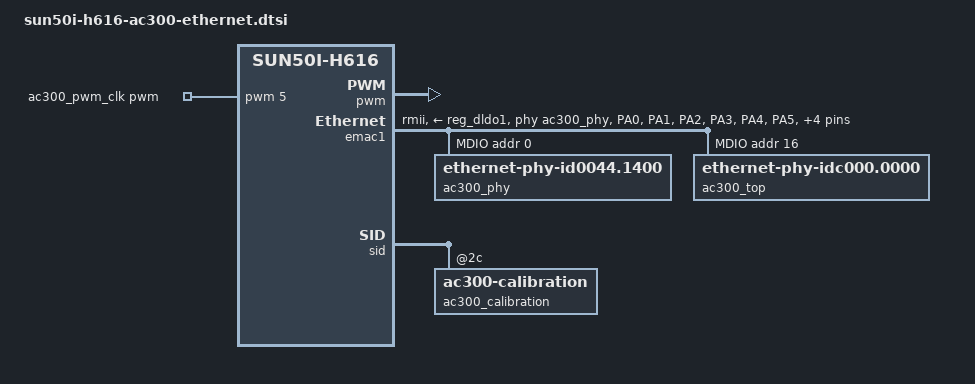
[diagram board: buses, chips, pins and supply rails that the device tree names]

/ {
	soc {
		pwm: pwm@300a000 {
			compatible = "allwinner,sun50i-h616-pwm";
			reg = <0x0300a000 0x400>;
			clocks = <&ccu CLK_BUS_PWM>, <&osc24M>, <&ccu CLK_APB1>;
			clock-names = "bus", "hosc", "apb";
			resets = <&ccu RST_BUS_PWM>;
			#pwm-cells = <0x3>;
		};

		emac1: ethernet@5030000 {
			compatible = "allwinner,sun50i-h616-emac1";
			reg = <0x05030000 0x10000>;
			interrupts = <GIC_SPI 15 IRQ_TYPE_LEVEL_HIGH>;
			interrupt-names = "macirq";
			clocks = <&ccu CLK_BUS_EMAC1>;
			clock-names = "stmmaceth";
			resets = <&ccu RST_BUS_EMAC1>;
			reset-names = "stmmaceth";
			syscon = <&syscon>;
			pinctrl-names = "default";
			pinctrl-0 = <&int_rmii_pins>;
			phy-mode = "rmii";
			phy-handle = <&ac300_phy>;
			allwinner,rx-delay-ps = <3100>;
			allwinner,tx-delay-ps = <700>;
			phy-supply = <&reg_dldo1>;

			mdio1: mdio {
				compatible = "snps,dwmac-mdio";
				#address-cells = <1>;
				#size-cells = <0>;

				ac300_phy: ethernet-phy@0 {
					compatible = "ethernet-phy-id0044.1400",
						     "ethernet-phy-ieee802.3-c22";
					reg = <0>;
					phy-top-handle = <&ac300_top>;
				};

				ac300_top: ethernet-top@10 {
					compatible = "ethernet-phy-idc000.0000",
						     "ethernet-phy-ieee802.3-c22";
					reg = <0x10>;
					clocks = <&ac300_pwm_clk>;
					clock-name = "phy";
					nvmem-cells = <&ac300_calibration>;
					nvmem-cell-names = "calibration";
				};
			};
		};
	};

	ac300_pwm_clk: ac300-clk {
		compatible = "pwm-clock";
		#clock-cells = <0>;
		clock-frequency = <24000000>;
		pinctrl-names = "default";
		pinctrl-0 = <&pwm5_pin>;
		pwms = <&pwm 5 42 0>;
	};
};

&pio {
	int_rmii_pins: rmii-pins {
		pins = "PA0", "PA1", "PA2", "PA3", "PA4",
		       "PA5", "PA6", "PA7", "PA8", "PA9";
		function = "emac1";
		drive-strength = <40>;
	};

	pwm5_pin: pwm5-pin {
		pins = "PA12";
		function = "pwm5";
	};
};

&sid {
	ac300_calibration: ac300-calibration@2c {
		reg = <0x2c 0x2>;
	};
};
